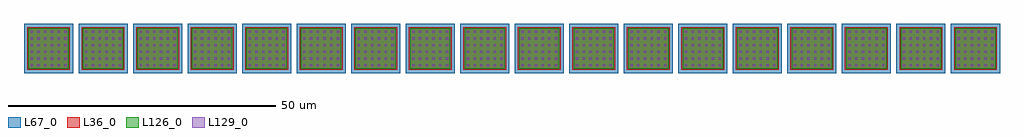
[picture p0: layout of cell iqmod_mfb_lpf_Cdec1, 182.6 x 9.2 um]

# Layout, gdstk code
import gdstk
lib = gdstk.Library(unit=1e-6, precision=5e-09)
def R(c, l, rs):  # rectangles x0, y0, x1, y1
    for r in rs: c.add(gdstk.rectangle(r[:2], r[2:], *l))
def A(c, l, x, y, w, h, nx, ny, dx, dy):  # array of equal rectangles
    R(c, l, [(x+i*dx, y+j*dy, x+i*dx+w, y+j*dy+h) for i in range(nx) for j in range(ny)])
L36_0 = (36, 0)
L67_0 = (67, 0)
L126_0 = (126, 0)
L129_0 = (129, 0)

cmim = lib.new_cell('cmim')
R(cmim, L36_0, [(0,0,8,8)])
R(cmim, L67_0, [(-0.6,-0.6,8.6,8.6)])
R(cmim, L126_0, [(0.22,0.22,7.78,7.78)])
A(cmim, L129_0, 0.64, 0.64, 0.42, 0.42, 6, 6, 1.26, 1.26)

iqmod_mfb_lpf_cdec1 = lib.new_cell('iqmod_mfb_lpf_Cdec1')
iqmod_mfb_lpf_cdec1.add(gdstk.Reference(cmim, (41.4,0.6)))
iqmod_mfb_lpf_cdec1.add(gdstk.Reference(cmim, (21,0.6)))
iqmod_mfb_lpf_cdec1.add(gdstk.Reference(cmim, (10.8,0.6)))
iqmod_mfb_lpf_cdec1.add(gdstk.Reference(cmim, (0.6,0.6)))
iqmod_mfb_lpf_cdec1.add(gdstk.Reference(cmim, (31.2,0.6)))
iqmod_mfb_lpf_cdec1.add(gdstk.Reference(cmim, (92.4,0.6)))
iqmod_mfb_lpf_cdec1.add(gdstk.Reference(cmim, (72,0.6)))
iqmod_mfb_lpf_cdec1.add(gdstk.Reference(cmim, (61.8,0.6)))
iqmod_mfb_lpf_cdec1.add(gdstk.Reference(cmim, (82.2,0.6)))
iqmod_mfb_lpf_cdec1.add(gdstk.Reference(cmim, (123,0.6)))
iqmod_mfb_lpf_cdec1.add(gdstk.Reference(cmim, (112.8,0.6)))
iqmod_mfb_lpf_cdec1.add(gdstk.Reference(cmim, (102.6,0.6)))
iqmod_mfb_lpf_cdec1.add(gdstk.Reference(cmim, (133.2,0.6)))
iqmod_mfb_lpf_cdec1.add(gdstk.Reference(cmim, (51.6,0.6)))
iqmod_mfb_lpf_cdec1.add(gdstk.Reference(cmim, (143.4,0.6)))
iqmod_mfb_lpf_cdec1.add(gdstk.Reference(cmim, (153.6,0.6)))
iqmod_mfb_lpf_cdec1.add(gdstk.Reference(cmim, (163.8,0.6)))
iqmod_mfb_lpf_cdec1.add(gdstk.Reference(cmim, (174,0.6)))

lib.write_gds('iqmod_mfb_lpf_Cdec1.gds')
